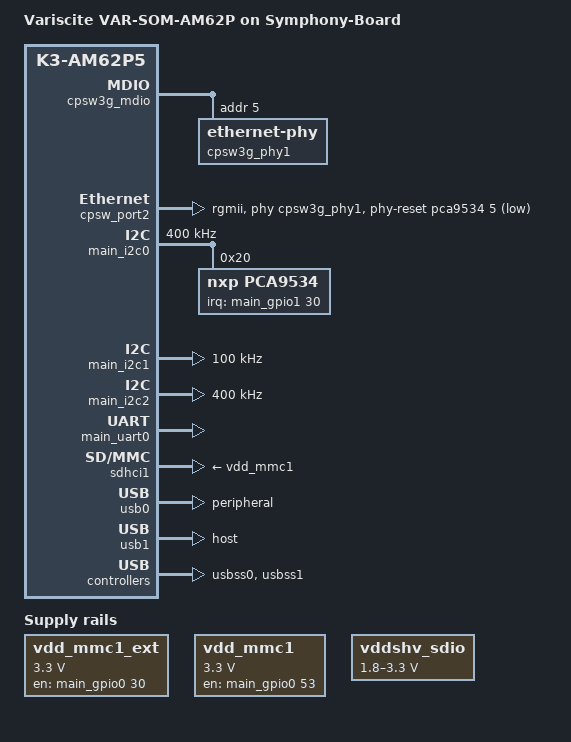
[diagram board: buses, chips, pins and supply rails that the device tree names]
// SPDX-License-Identifier: GPL-2.0-only OR MIT
/*
 * Device Tree file for the AM62P5-SK
 * Copyright (C) 2023-2024 Texas Instruments Incorporated - https://www.ti.com/
 * Copyright (C) 2025 Variscite Ltd. - https://www.variscite.com/
 *
 * Schematics: https://www.ti.com/lit/zip/sprr487
 */

/dts-v1/;

#include "k3-am62p5-var-som.dtsi"

/ {
	compatible = "ti,am62p5-sk", "ti,am62p5";
	model = "Variscite VAR-SOM-AM62P on Symphony-Board";

	chosen {
		stdout-path = &main_uart0;
	};

	vdd_mmc1_ext: regulator-1 {
		compatible = "regulator-fixed";
		regulator-name = "vdd_mmc1_ext";
		regulator-min-microvolt = <3300000>;
		regulator-max-microvolt = <3300000>;
		regulator-boot-on;
		enable-active-high;
		gpio = <&main_gpio0 30 GPIO_ACTIVE_HIGH>;
		bootph-all;
	};

	vdd_mmc1: regulator-2 {
		compatible = "regulator-fixed";
		regulator-name = "vdd_mmc1";
		regulator-min-microvolt = <3300000>;
		regulator-max-microvolt = <3300000>;
		regulator-always-on;
		regulator-boot-on;
		enable-active-high;
		gpio = <&main_gpio0 53 GPIO_ACTIVE_HIGH>;
		bootph-all;
	};

	vddshv_sdio: regulator-3 {
		compatible = "regulator-gpio";
		regulator-name = "vddshv_sdio";
		pinctrl-names = "default";
		pinctrl-0 = <&vddshv_sdio_pins_default>;
		regulator-min-microvolt = <1800000>;
		regulator-max-microvolt = <3300000>;
		regulator-boot-on;
		gpios = <&main_gpio0 56 GPIO_ACTIVE_HIGH>;
		states = <1800000 0x0>,
			 <3300000 0x1>;
		bootph-all;
	};
};

&cpsw3g_mdio {
	cpsw3g_phy1: ethernet-phy@5 {
		reg = <5>;
	};
};

&cpsw_port2 {
	status = "okay";
	phy-mode = "rgmii";
	phy-handle = <&cpsw3g_phy1>;
	phy-reset-gpios = <&pca9534 5 GPIO_ACTIVE_LOW>;
	phy-reset-duration = <10>;
	phy-reset-post-delay = <100>;
};

&main_i2c0 {
	status = "okay";
	pinctrl-names = "default";
	pinctrl-0 = <&main_i2c0_pins_default>;
	clock-frequency = <400000>;

	/* GPIO expander */
	pca9534: gpio@20 {
		compatible = "nxp,pca9534";
		reg = <0x20>;
		gpio-controller;
		pinctrl-names = "default";
		interrupt-parent = <&main_gpio1>;
		interrupts = <30 IRQ_TYPE_EDGE_FALLING>;
		#gpio-cells = <2>;
		wakeup-source;
		status = "okay";

		usb3_sel_hog {
			gpio-hog;
			gpios = <4 0>;
			output-low;
			line-name = "usb3_sel";
		};

		eth_som_vselect_hog {
			gpio-hog;
			gpios = <6 0>;
			output-low;
			line-name = "eth-vselect";
		};

		eth_mdio_enable_hog {
			gpio-hog;
			gpios = <7 0>;
			output-high;
			line-name = "eth-mdio-enable";
		};
	};
};

&main_i2c1 {
	status = "okay";
	pinctrl-names = "default";
	pinctrl-0 = <&main_i2c1_pins_default>;
	clock-frequency = <100000>;
	bootph-all;

};

&main_i2c2 {
	status = "okay";
	pinctrl-names = "default";
	pinctrl-0 = <&main_i2c2_pins_default>;
	clock-frequency = <400000>;
};

&main_pmx0 {
	bootph-all;

	main_i2c0_pins_default: main-i2c0-default-pins {
		pinctrl-single,pins = <
			AM62PX_IOPAD(0x01e0, PIN_INPUT_PULLUP, 0) /* (B25) I2C0_SCL */
			AM62PX_IOPAD(0x01e4, PIN_INPUT_PULLUP, 0) /* (A24) I2C0_SDA */
		>;
	};

	main_i2c1_pins_default: main-i2c1-default-pins {
		pinctrl-single,pins = <
			AM62PX_IOPAD(0x01e8, PIN_INPUT_PULLUP, 0) /* (C24) I2C1_SCL */
			AM62PX_IOPAD(0x01ec, PIN_INPUT_PULLUP, 0) /* (B24) I2C1_SDA */
		>;
		bootph-all;
	};

	main_i2c2_pins_default: main-i2c2-default-pins {
		pinctrl-single,pins = <
			AM62PX_IOPAD(0x00b0, PIN_INPUT_PULLUP, 1) /* (T22) GPMC0_CSn2.I2C2_SCL */
			AM62PX_IOPAD(0x00b4, PIN_INPUT_PULLUP, 1) /* (U25) GPMC0_CSn3.I2C2_SDA */
		>;
	};

	main_mmc1_pins_default: main-mmc1-default-pins {
		pinctrl-single,pins = <
			AM62PX_IOPAD(0x023c, PIN_INPUT, 0) /* (H20) MMC1_CMD */
			AM62PX_IOPAD(0x0234, PIN_OUTPUT, 0) /* (J24) MMC1_CLK */
			AM62PX_IOPAD(0x0230, PIN_INPUT, 0) /* (H21) MMC1_DAT0 */
			AM62PX_IOPAD(0x022c, PIN_INPUT_PULLUP, 0) /* (H23) MMC1_DAT1 */
			AM62PX_IOPAD(0x0228, PIN_INPUT_PULLUP, 0) /* (H22) MMC1_DAT2 */
			AM62PX_IOPAD(0x0224, PIN_INPUT_PULLUP, 0) /* (H25) MMC1_DAT3 */
			AM62PX_IOPAD(0x0240, PIN_INPUT, 0) /* (D23) MMC1_SDCD */
			AM62PX_IOPAD(0x0078, PIN_OUTPUT, 7) /* (AC24) GPMC0_AD15.GPIO0_30 */
			AM62PX_IOPAD(0x00d8, PIN_OUTPUT, 7) /* (AE22) VOUT0_DATA8.GPIO0_53 */
			AM62PX_IOPAD(0x00e4, PIN_OUTPUT, 7) /* (AE21) VOUT0_DATA11.GPIO0_56 */
		>;
		bootph-all;
	};

	main_uart0_pins_default: main-uart0-default-pins {
		pinctrl-single,pins = <
			AM62PX_IOPAD(0x1c8, PIN_INPUT, 0)	/* (A22) UART0_RXD */
			AM62PX_IOPAD(0x1cc, PIN_OUTPUT, 0)	/* (B22) UART0_TXD */
		>;
		bootph-all;
	};

	main_uart1_pins_default: main-uart1-default-pins {
		pinctrl-single,pins = <
			AM62PX_IOPAD(0x0194, PIN_INPUT, 2) /* (D25) MCASP0_AXR3.UART1_CTSn */
			AM62PX_IOPAD(0x0198, PIN_OUTPUT, 2) /* (E25) MCASP0_AXR2.UART1_RTSn */
			AM62PX_IOPAD(0x01ac, PIN_INPUT, 2) /* (G23) MCASP0_AFSR.UART1_RXD */
			AM62PX_IOPAD(0x01b0, PIN_OUTPUT, 2) /* (G20) MCASP0_ACLKR.UART1_TXD */
		>;
		bootph-all;
	};

	main_usb1_pins_default: main-usb1-default-pins {
		pinctrl-single,pins = <
			AM62PX_IOPAD(0x0258, PIN_INPUT, 0) /* (G21) USB1_DRVVBUS */
		>;
	};

	vddshv_sdio_pins_default: vddshvr-sdio-default-pins {
		pinctrl-single,pins = <
			AM62PX_IOPAD(0x007c, PIN_INPUT, 7) /* (Y25) GPMC0_CLK.GPIO0_31 */
		>;
		bootph-all;
	};
};

&main_uart0 {
	pinctrl-names = "default";
	pinctrl-0 = <&main_uart0_pins_default>;
	status = "okay";
	bootph-all;
};

&main_uart1 {
	pinctrl-names = "default";
	pinctrl-0 = <&main_uart1_pins_default>;
	/* Main UART1 is used by TIFS firmware */
	status = "reserved";
	bootph-all;
};

&mcu_pmx0 {
	bootph-all;

	wkup_uart0_pins_default: wkup-uart0-default-pins {
		pinctrl-single,pins = <
			AM62PX_MCU_IOPAD(0x02c, PIN_INPUT, 0)	/* (C7) WKUP_UART0_CTSn */
			AM62PX_MCU_IOPAD(0x030, PIN_OUTPUT, 0)	/* (C6) WKUP_UART0_RTSn */
			AM62PX_MCU_IOPAD(0x024, PIN_INPUT, 0)	/* (D8) WKUP_UART0_RXD */
			AM62PX_MCU_IOPAD(0x028, PIN_OUTPUT, 0)	/* (D7) WKUP_UART0_TXD */
		>;
		bootph-all;
	};
};

&sdhci1 {
	/* SD/MMC */
	status = "okay";
	vmmc-supply = <&vdd_mmc1>;
	vqmmc-supply = <&vddshv_sdio>;
	pinctrl-names = "default";
	pinctrl-0 = <&main_mmc1_pins_default>;
	disable-wp;
	bootph-all;
};

&usb0 {
	dr_mode = "peripheral";
};

&usb1 {
	dr_mode = "host";
	pinctrl-names = "default";
	pinctrl-0 = <&main_usb1_pins_default>;
};

&usbss0 {
	status = "okay";
	ti,vbus-divider;
};

&usbss1 {
	status = "okay";
	ti,vbus-divider;
};

&wkup_uart0 {
	/* WKUP UART0 is used by DM firmware */
	pinctrl-names = "default";
	pinctrl-0 = <&wkup_uart0_pins_default>;
	status = "reserved";
	bootph-all;
};
